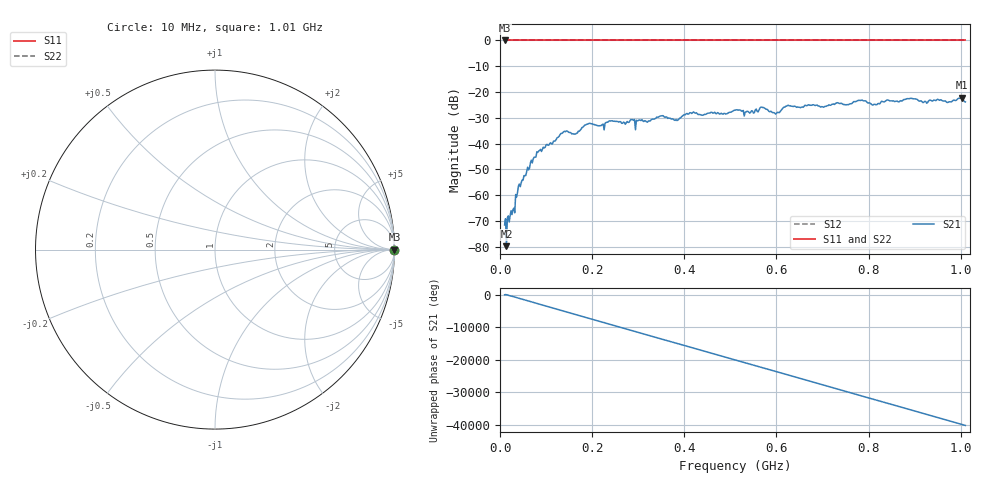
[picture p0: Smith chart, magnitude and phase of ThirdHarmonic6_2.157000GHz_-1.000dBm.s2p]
! 8/17/2025 1:45:11 AM
! C:\ANRITSUVNA\TEMP\TEMP.S2P
! CHANNEL.1
! TR.MEASUREMENT
! RAW.DATA
! RF.CORRECTION.OFF
! AVERAGING.OFF
! IF.BANDWIDTH: 5KHZ
! SWEEPTYPE:  FREQ.SWEEP(Linear)
! Reference Plane Port Info
! PORT:  PORT1  PORT2
! DISTANCE:  0  m  0  m
! TIME:  0  s  0  s
! PHASE.OFFSET:  0  deg.  0  deg.
! LOSS:  0  dB  0  dB
! REF.LOSS:  0  dB  0  dB
! REF.FREQ:  0  Hz  0  Hz
! Power Info
! POWER:  -20  dBm  -20  dBm
! EFF.POWER:  -20  dBm  -20  dBm
! SOURCE.ATTEN:  0  dB  0  dB
! TEST.ATTEN:  0  dB  0  dB
# GHZ S RI R 50.0
! FREQ.GHZ  S11RE  S11IM  S21RE  S21IM  S12RE  S12IM  S22RE  S22IM
!; PortSelection: Port_12
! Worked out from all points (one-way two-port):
!   501 points, 10 MHz to 1.01 GHz, reference 50 ohm
!   highest |S21| = -22.20 dB at 1.002 GHz (marker M1); lowest = -79.8 dB at 14 MHz (marker M2)
!   lowest |S11| = 0.0 dB at 10 MHz (marker M3)
!   |S11| at or under -10 dB: nowhere
!   |S22| runs from 0.0 to 0.0 dB; largest |S21 - S12| = 1.1
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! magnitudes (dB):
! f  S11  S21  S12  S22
! 10 MHz  0.0  -71.6  0.0  0.0
! 14 MHz  0.0  -79.8  0.0  0.0
! 28 MHz  0.0  -65.7  0.0  0.0
! 44 MHz  0.0  -56.7  0.0  0.0
! 84 MHz  0.0  -42.9  0.0  0.0
! 136 MHz  0.0  -35.9  0.0  0.0
! 164 MHz  0.0  -36.3  0.0  0.0
! 178 MHz  0.0  -33.8  0.0  0.0
! 344 MHz  0.0  -29.7  0.0  0.0
! 382 MHz  0.0  -30.7  0.0  0.0
! 416 MHz  0.0  -28.3  0.0  0.0
! 510 MHz  0.0  -27.1  0.0  0.0
! 534 MHz  0.0  -27.7  0.0  0.0
! 570 MHz  0.0  -26.0  0.0  0.0
! 600 MHz  0.0  -28.3  0.0  0.0
! 624 MHz  0.0  -25.2  0.0  0.0
! 678 MHz  0.0  -25.0  0.0  0.0
! 782 MHz  0.0  -23.3  0.0  0.0
! 812 MHz  0.0  -24.7  0.0  0.0
! 844 MHz  0.0  -23.3  0.0  0.0
! 1.002 GHz  0.0  -22.2  0.0  0.0
! 1.01 GHz  0.0  -23.9  0.0  0.0
